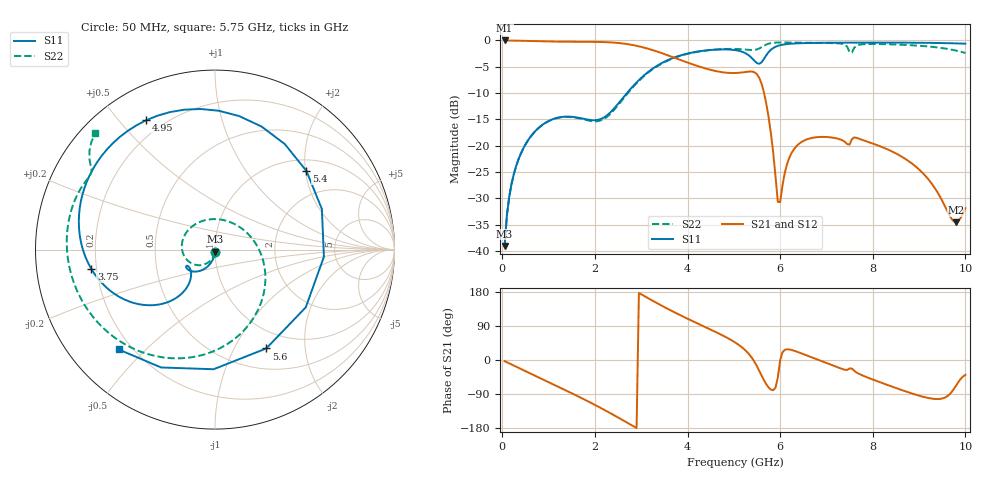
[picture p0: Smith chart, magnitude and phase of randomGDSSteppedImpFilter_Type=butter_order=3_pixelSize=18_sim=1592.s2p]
! freq	dB(S11)	phase(S11)	dB(S12)	phase(S12)
!  dB(S21)	phase(S21)	dB(S22)	phase(S22)
!S-par simulation data
#  GHz  S  DB  R 50
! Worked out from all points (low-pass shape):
!   200 points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, 50 MHz to 10 GHz, reference 50 ohm
!   highest |S21| = -0.01 dB at 50 MHz (marker M1); lowest = -34.6 dB at 9.8 GHz (marker M2)
!   |S21| within 3 dB of the highest: start of sweep to 3.629 GHz
!   lowest |S11| = -39.1 dB at 50 MHz (marker M3), VSWR 1.02, Z = 50 - j1.11 ohm
!   |S11| at or under -10 dB: start of sweep to 2.693 GHz
!   |S22| runs from -39.1 to -0.4 dB; largest |S21 - S12| = 0
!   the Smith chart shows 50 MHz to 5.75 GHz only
!   S11 on the Smith chart (normalised r, x): 50 MHz: 1.00, -0.02; 3.75 GHz: 0.18, -0.08; 4.95 GHz: 0.14, +0.59; 5.4 GHz: 1.27, +2.03; 5.6 GHz: 0.76, -1.35; 5.75 GHz: 0.15, -0.42
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0.05  -39.10 -91.3  -0.01 -3.0  -0.01 -3.0  -39.11 -92.5
0.2  -27.25 -99.4  -0.03 -11.9  -0.03 -11.9  -27.27 -104.2
0.55  -19.06 -115.9  -0.10 -32.3  -0.10 -32.3  -19.08 -129.7
1.75  -14.89 -150.0  -0.27 -102.8  -0.27 -102.8  -15.01 123.6
2.65  -10.45 -126.9  -0.64 -162.1  -0.64 -162.1  -10.66 -19.5
3.4  -4.52 -153.7  -2.28 146.1  -2.28 146.1  -4.62 -95.9
3.75  -3.13 -171.1  -3.40 123.9  -3.40 123.9  -3.20 -122.5
4.4  -1.90 154.9  -5.36 85.9  -5.36 85.9  -1.92 -163.3
4.95  -1.76 118.0  -6.20 52.2  -6.20 52.2  -1.61 167.7
5.05  -1.87 108.2  -6.19 44.6  -6.19 44.6  -1.62 162.9
5.4  -3.45 40.7  -5.93 3.8  -5.93 3.8  -1.83 149.1
5.5  -4.32 -3.8  -6.44 -16.7  -6.44 -16.7  -1.71 147.0
5.6  -4.15 -62.6  -8.27 -41.2  -8.27 -41.2  -1.27 144.1
5.75  -2.23 -134.0  -14.57 -72.4  -14.57 -72.4  -0.62 135.7
5.95  -1.03 178.1  -30.68 -45.9  -30.68 -45.9  -0.40 123.4
6.25  -0.61 144.4  -21.34 26.4  -21.34 26.4  -0.41 107.1
6.7  -0.48 115.8  -18.51 6.1  -18.51 6.1  -0.46 83.9
7.4  -0.42 83.7  -19.31 -25.8  -19.31 -25.8  -0.81 43.2
8.35  -0.41 45.1  -20.83 -67.4  -20.83 -67.4  -0.73 -3.4
9.25  -0.47 8.9  -26.95 -101.4  -26.95 -101.4  -1.19 -63.3
9.8  -0.56 -13.8  -34.59 -67.3  -34.59 -67.3  -1.93 -112.5
10  -0.61 -22.1  -31.89 -39.3  -31.89 -39.3  -2.39 -135.8
